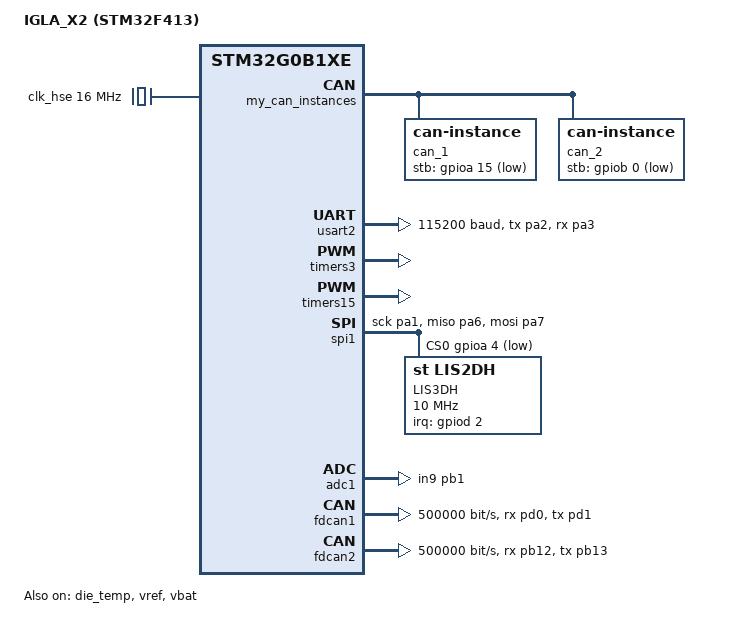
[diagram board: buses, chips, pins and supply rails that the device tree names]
/*
 * Copyright (c) 2020 Thomas Stranger
 *
 * SPDX-License-Identifier: Apache-2.0
 */

/dts-v1/;
#include <st/g0/stm32g0b1Xe.dtsi>
#include <st/g0/stm32g0b1r(b-c-e)tx-pinctrl.dtsi>
#include <zephyr/dt-bindings/input/input-event-codes.h>



/ {
		model = "IGLA_X2 (STM32F413)";
	compatible = "st,igla_x2";

	chosen {
		zephyr,console = &usart2;
		zephyr,shell-uart = &usart2;
		zephyr,uart-mcumgr = &usart2;
		zephyr,sram = &sram0;
		zephyr,flash = &flash0;
		zephyr,canbus = &fdcan1;
	};

	my_custom_inputs {
		/* Вход 1: Статический GND (PC13) */
		din_1 {
			compatible = "zephyr,discrete-input";
			gpios = <&gpioc 13 GPIO_ACTIVE_LOW>;
			input-type = "active-high";
			param-id = "din1";
			param-cfg-id = "din1_config";
		};

		/* Вход 2: Статический VDD (PC14) */
		din_2 {
			compatible = "zephyr,discrete-input";
			gpios = <&gpioc 14 GPIO_ACTIVE_LOW>;
			input-type = "active-high";
			param-id = "din2";
			param-cfg-id = "din2_config";
		};

		/* Вход 3: Динамический (PC15), управляемый пином PD3 */
		din_3 {
			compatible = "zephyr,discrete-input";
			gpios = <&gpioc 15 0>;
			input-type = "configurable-low";
			ctrl-gpios = <&gpiod 3 GPIO_ACTIVE_LOW>;
			param-id = "din3";
			param-cfg-id = "din3_config";
		};
	};

	my_custom_outputs {
		dout_1 {
			compatible = "zephyr,discrete-output";
			gpios = <&gpiob 5 GPIO_ACTIVE_HIGH>;
			param-id = "dout1";
		};
		dout_2 {
			compatible = "zephyr,discrete-output";
			gpios = <&gpiob 6 GPIO_ACTIVE_HIGH>;
			param-id = "dout2";
		};
		dout_3 {
			compatible = "zephyr,discrete-output";
			gpios = <&gpiob 7 GPIO_ACTIVE_HIGH>;
			param-id = "dout3";
		};
	};

	/* Виртуальный шлюз-мост для CAN-каналов */
	my_can_instances {
		can_1 {
			compatible = "zephyr,can-instance";
			can-dev = <&fdcan1>;
			stb-gpios = <&gpioa 15 GPIO_ACTIVE_LOW>;
			param-tx-id = "can1_tx_frame";
			param-rx-id = "can1_rx_frame";
			param-status-id = "can1_status";
			param-ctrl-id = "can1_ctrl";
			param-filter-id = "can1_filter";
			param-stb-id = "can1_stb";
		};

		can_2 {
			compatible = "zephyr,can-instance";
			can-dev = <&fdcan2>;
			stb-gpios = <&gpiob 0 GPIO_ACTIVE_LOW>;
			param-tx-id = "can2_tx_frame";
			param-rx-id = "can2_rx_frame";
			param-status-id = "can2_status";
			param-ctrl-id = "can2_ctrl";
			param-filter-id = "can2_filter";
			param-stb-id = "can2_stb";
		};
	};
};

/* 1. Настройка внешнего кварца (HSE = 16 МГц) */
&clk_hse {
	clock-frequency = <DT_FREQ_M(16)>;
	status = "okay";
};

/* 2. Конфигурация главного умножителя частоты (PLL) */
&pll {
	clocks = <&clk_hse>;
	/* f(VCO) = 16 МГц / 2 * 16 = 128 МГц */
	div-m = <2>;
	mul-n = <16>;
	div-r = <2>; /* PLLR (SYSCLK) = 128 / 2 = 64 МГц */
	div-q = <2>; /* PLLQ (FDCAN)  = 128 / 2 = 64 МГц */
	div-p = <2>; /* PLLP          = 128 / 2 = 64 МГц */
	status = "okay";
};

/* 3. Конфигурация системных шин в блоке RCC */
&rcc {
	clocks = <&pll>;
	clock-frequency = <DT_FREQ_M(64)>;
	ahb-prescaler = <1>;
	apb1-prescaler = <1>;
};

/* 4. Включаем USART2 для консоли и шелла (проверьте ваши пины!) */
&usart2 {
	pinctrl-0 = <&usart2_tx_pa2 &usart2_rx_pa3>;
	pinctrl-names = "default";
	current-speed = <115200>;
	status = "okay";
};

&iwdg {
	status = "disabled";
};

&timers3 {
	st,prescaler = <10000>;
	status = "okay";

	pwm3: pwm {
		status = "okay";
		pinctrl-0 = <&tim3_ch1_pb4>;
		pinctrl-names = "default";
	};
};

&timers15 {
	st,prescaler = <10000>;
	status = "okay";

	pwm15: pwm {
		status = "okay";
		pinctrl-0 = <&tim15_ch1_pb14>;
		pinctrl-names = "default";
	};
};

&spi1 {
	status = "okay";
	/* SCK (PA1), MISO (PA6), MOSI (PA7), CS (PA4) */
	pinctrl-0 = <&spi1_sck_pa1 &spi1_miso_pa6 &spi1_mosi_pa7>;
	pinctrl-names = "default";
	cs-gpios = <&gpioa 4 GPIO_ACTIVE_LOW>;

	lis3dh: lis3dh@0 {
		compatible = "st,lis2dh";
		reg = <0>;
		spi-max-frequency = <10000000>;
		irq-gpios = <&gpiod 2 GPIO_ACTIVE_HIGH>;
		label = "LIS3DH";
	};
};

&adc1 {
	status = "okay";
	pinctrl-0 = <&adc1_in9_pb1>;
	pinctrl-names = "default";
};

&die_temp {
	status = "okay";
};

&fdcan1 {
	status = "okay";
	pinctrl-0 = <&fdcan1_rx_pd0 &fdcan1_tx_pd1>;
	pinctrl-names = "default";
	bitrate = <500000>;
	clocks = <&rcc STM32_CLOCK_BUS_APB1 0x00001000>,
		 <&rcc STM32_SRC_PLL_Q FDCAN_SEL(1)>;
};

&fdcan2 {
	status = "okay";
	pinctrl-0 = <&fdcan2_rx_pb12 &fdcan2_tx_pb13>;
	pinctrl-names = "default";
	bitrate = <500000>;
	clocks = <&rcc STM32_CLOCK_BUS_APB1 0x00001000>,
		 <&rcc STM32_SRC_PLL_Q FDCAN_SEL(1)>;
};









&flash0 {
	partitions {
		compatible = "fixed-partitions";
		#address-cells = <1>;
		#size-cells = <1>;

		boot_partition: partition@0 {
			label = "mcuboot";
			reg = <0x00000000 DT_SIZE_K(48)>;
			read-only;
		};

		slot0_partition: partition@c000 {
			label = "image-0";
			reg = <0x0000c000 DT_SIZE_K(200)>;
		};

		slot1_partition: partition@3e000 {
			label = "image-1";
			reg = <0x0003e000 DT_SIZE_K(200)>;
		};

		/* final 64KiB reserved for app storage partition */
		storage_partition: partition@70000 {
			label = "storage";
			reg = <0x00070000 DT_SIZE_K(64)>;
		};
	};
};



&vref {
	status = "okay";
};

&vbat {
	status = "okay";
};

